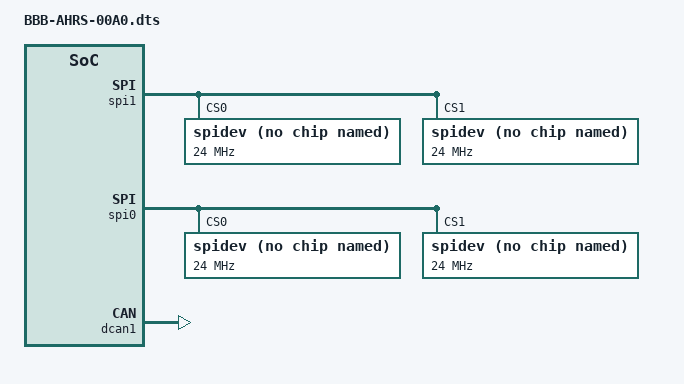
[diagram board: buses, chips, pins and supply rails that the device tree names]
/*
 * ####################################################################################
 * #  Custom device tree file to create virtual SPI0 cape in BlackLib Library.        #
 * #  Copyright (C) 2014 by Yigit YUCE                                                #
 * ####################################################################################
 * #                                                                                  #
 * #  This file is part of BlackLib library.                                          #
 * #                                                                                  #
 * #  BlackLib library is free software: you can redistribute it and/or modify        #
 * #  it under the terms of the GNU Lesser General Public License as published by     #
 * #  the Free Software Foundation, either version 3 of the License, or               #
 * #  (at your option) any later version.                                             #
 * #                                                                                  #
 * #  BlackLib library is distributed in the hope that it will be useful,             #
 * #  but WITHOUT ANY WARRANTY; without even the implied warranty of                  #
 * #  MERCHANTABILITY or FITNESS FOR A PARTICULAR PURPOSE.  See the                   #
 * #  GNU Lesser General Public License for more details.                             #
 * #                                                                                  #
 * #  You should have received a copy of the GNU Lesser General Public License        #
 * #  along with this program.  If not, see <http://www.gnu.org/licenses/>.           #
 * #                                                                                  #
 * #  For any comment or suggestion please contact the creator of BlackLib Library    #
 * #  at ygtyce@gmail.com                                                             #
 * #                                                                                  #
 * ####################################################################################
 */

/dts-v1/;
/plugin/;

/ {
    compatible      = "ti,beaglebone", "ti,beaglebone-black";

    /* identification */
    part-number     = "BBB-AHRS";
    version         = "00A0";

    exclusive-use   =
	"P9.17",    /* spi0_cs0 */
        "P9.18",    /* spi0_d1 */
        "P9.21",    /* spi0_d0 */
        "P9.22",    /* spi0_sclk */

        "P9.31",    /* spi1_sclk */
        "P9.29",    /* spi1_d0 */
        "P9.30",    /* spi1_d1 */
        "P9.28",    /* spi1_cs0 */

	"P9.24",    /* dcan1_rx */
        "P9.26",    /* dcan1_tx */

	/* the hardware ip uses */
	"spi0",
        "spi1";

    fragment@0 {
        target      = <&am33xx_pinmux>;
        __overlay__ {
            bb_spi1_pins: pinmux_bb_spi1_pins {
                pinctrl-single,pins = <
                    0x190 0x33      /* mcasp0_aclkx.spi1_sclk,      INPUT_PULLUP  | MODE3 */
                    0x194 0x33      /* mcasp0_fsx.spi1_d0,          INPUT_PULLUP  | MODE3 */
                    0x198 0x13      /* mcasp0_axr0.spi1_d1,         OUTPUT_PULLUP | MODE3 */
                    0x19c 0x13      /* mcasp0_ahclkr.spi1_cs0,      OUTPUT_PULLUP | MODE3 */
                >;
            };
        };
    };

    fragment@1 {
        target = <&spi1>;
        __overlay__ {
            #address-cells  = <1>;
            #size-cells     = <0>;

            status          = "okay";
            pinctrl-names   = "default";
            pinctrl-0       = <&bb_spi1_pins>;    

            spidev@0{
                compatible          = "spidev";
                reg                 = <0>;
                spi-max-frequency   = <24000000>;
            };
            spidev@1{
                compatible          = "spidev";
                reg                 = <1>;
                spi-max-frequency   = <24000000>;
            };            
        };
    };

    fragment@2 {
        target      = <&am33xx_pinmux>;
        __overlay__ {
            bb_spi0_pins: pinmux_bb_spi0_pins {
                pinctrl-single,pins = <
                    0x150 0x30      /* spi0_sclk.spi0_sclk,     INPUT_PULLUP  | MODE0 */
                    0x154 0x30      /* spi0_d0.spi0_d0,         INPUT_PULLUP  | MODE0 */
                    0x158 0x10      /* spi0_d1.spi0_d1,         OUTPUT_PULLUP | MODE0 */
                    0x15c 0x10      /* spi0_cs0.spi0_cs0,       OUTPUT_PULLUP | MODE0 */
                >;
            };
        };
    };

    fragment@3 {
        target = <&spi0>;
        __overlay__ {
            #address-cells  = <1>;
            #size-cells     = <0>;

            status          = "okay";
            pinctrl-names   = "default";
            pinctrl-0       = <&bb_spi0_pins>;

            spidev@0{
                compatible          = "spidev";
                reg                 = <0>;
                spi-max-frequency   = <24000000>;
            };
            spidev@1{
                compatible          = "spidev";
                reg                 = <1>;
                spi-max-frequency   = <24000000>;
            };  
        };
    };

    fragment@4 {
        target = <&am33xx_pinmux>;
        __overlay__ {
            dcan1_pins_s0: dcan1_pins_s0 {
                pinctrl-single,pins = <
                    0x180 0x12  /* d_can1_tx, SLEWCTRL_FAST | INPUT_PULLUP | MODE2 */
                    0x184 0x32  /* d_can1_rx, SLEWCTRL_FAST | RECV_ENABLE | INPUT_PULLUP | MODE2 */
                >;
            };
        };
    };
 
    fragment@5 {
        target = <&dcan1>;
        __overlay__ {
             #address-cells = <1>;
             #size-cells = <0>;
 
             status = "okay";
             pinctrl-names = "default";
             pinctrl-0 = <&dcan1_pins_s0>;
        };
    };
};
